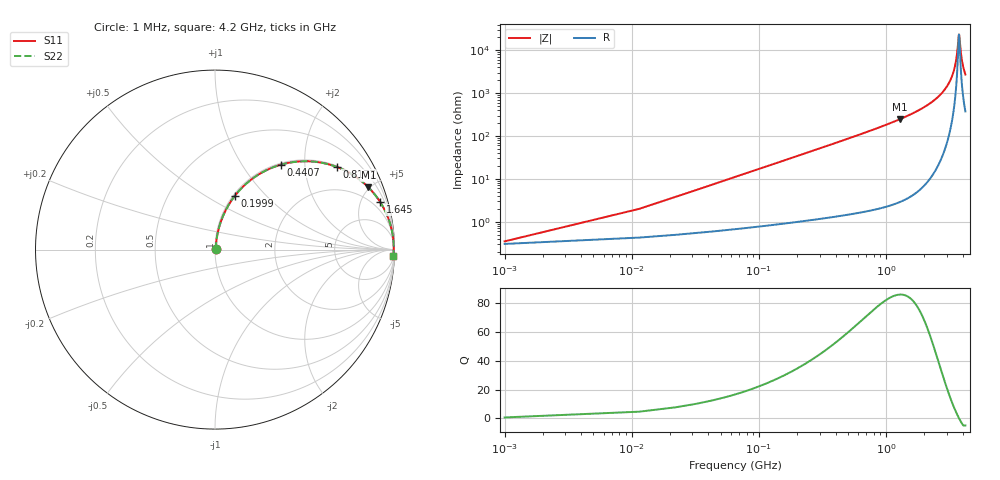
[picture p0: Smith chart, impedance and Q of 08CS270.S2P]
! Coilcraft 0805CS-270 Chip Inductor
! 11 June 2002
# MHZ S MA R 50
!Freq  MagS11  AngS11  MagS21  AngS21  MagS12  AngS12  MagS22  AngS22
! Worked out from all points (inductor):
!   403 points, 1 MHz to 4.2 GHz, reference 50 ohm
!   read as one part in series: L = 27 nH near 21.94 MHz
!   highest Q = 86 at 1.278 GHz (marker M1), where L = 30.6 nH
!   self-resonance near 3.739 GHz
!   S11 on the Smith chart (normalised r, x): 1 MHz: 1.01, +0.00; 199.9 MHz: 1.02, +0.68; 440.7 MHz: 1.03, +1.52; 817.7 MHz: 1.04, +2.91; 1.645 GHz: 1.09, +6.92; 4.2 GHz: 8, -54
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1  0.003449 29.3  0.997 -0.1  0.997 -0.1  0.003449 29.3
32.41  0.05487 81.2  0.9931 -3.1  0.9931 -3.1  0.05487 81.2
53.35  0.08981 80.9  0.9898 -5.1  0.9898 -5.1  0.08981 80.9
105.7  0.1755 77.4  0.9769 -10.1  0.9769 -10.1  0.1755 77.4
199.93  0.3193 69.7  0.9385 -18.6  0.9385 -18.6  0.3193 69.7
304.63  0.4574 61.5  0.8791 -27.2  0.8791 -27.2  0.4574 61.5
440.74  0.5991 52.2  0.79 -36.8  0.79 -36.8  0.5991 52.2
702.49  0.772 38.7  0.6249 -50.5  0.6249 -50.5  0.772 38.7
817.66  0.8195 34.2  0.5625 -55.0  0.5625 -55.0  0.8195 34.2
1278.34  0.9224 22.1  0.3757 -67.3  0.3757 -67.3  0.9224 22.1
1403.98  0.9372 19.8  0.3381 -69.6  0.3381 -69.6  0.9372 19.8
1644.79  0.9575 16.1  0.2769 -73.2  0.2769 -73.2  0.9575 16.1
2105.47  0.9793 10.8  0.1874 -78.3  0.1874 -78.3  0.9793 10.8
2806.96  0.9927 5.2  0.09124 -82.8  0.09124 -82.8  0.9927 5.2
3236.23  0.9954 2.6  0.04588 -82.9  0.04588 -82.9  0.9954 2.6
3508.45  0.9959 1.2  0.02066 -78.0  0.02066 -78.0  0.9959 1.2
3613.15  0.9959 0.6  0.01178 -69.3  0.01178 -69.3  0.9959 0.6
3717.85  0.9958 0.1  0.004695 -26.4  0.004695 -26.4  0.9958 0.1
3749.26  0.9958 -0.0  0.004281 7.2  0.004281 7.2  0.9958 -0.0
3864.43  0.9955 -0.6  0.01096 65.6  0.01096 65.6  0.9955 -0.6
3937.72  0.9953 -0.9  0.01655 73.1  0.01655 73.1  0.9953 -0.9
4200  0.9943 -2.1  0.03649 80.0  0.03649 80.0  0.9943 -2.1
